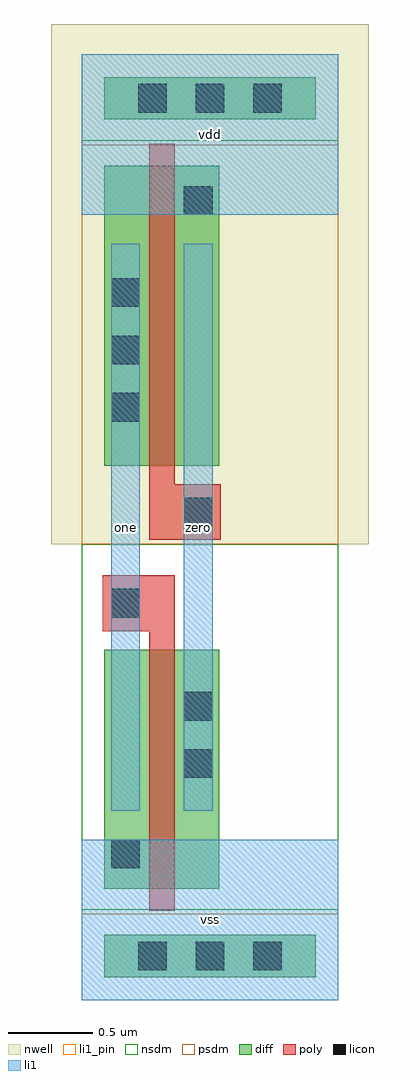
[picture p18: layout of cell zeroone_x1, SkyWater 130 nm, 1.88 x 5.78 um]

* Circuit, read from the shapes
.subckt zeroone_x1 one vdd vss zero
XM1 zero one vss VSUBS sky130_fd_pr__nfet_01v8 w=1.415 l=0.15
XM2 vdd zero one n1 sky130_fd_pr__pfet_01v8 w=1.775 l=0.15
.ends

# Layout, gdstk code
import gdstk
lib = gdstk.Library(unit=1e-6, precision=1e-09)
def R(c, l, rs):  # rectangles x0, y0, x1, y1
    for r in rs: c.add(gdstk.rectangle(r[:2], r[2:], *l))
def A(c, l, x, y, w, h, nx, ny, dx, dy):  # array of equal rectangles
    R(c, l, [(x+i*dx, y+j*dy, x+i*dx+w, y+j*dy+h) for i in range(nx) for j in range(ny)])
def P(c, l, *ps):  # polygons
    for p in ps: c.add(gdstk.Polygon(p, *l))
nwell = (64, 20)
diff = (65, 20)
poly = (66, 20)
licon = (66, 44)
li1_pin = (67, 16)
li1 = (67, 20)
nsdm = (93, 44)
psdm = (94, 20)

zeroone_x1 = lib.new_cell('zeroone_x1')
R(zeroone_x1, nwell, [(-0.18,2.7,1.7,5.78)])
R(zeroone_x1, diff, [(0.135,0.135,1.385,0.385), (0.135,0.66,0.815,2.075), (0.135,3.165,0.815,4.94), (0.135,5.215,1.385,5.465)])
P(zeroone_x1, poly, [(0.4,0.53),(0.4,2.185),(0.125,2.185),(0.125,2.515),(0.55,2.515),(0.55,0.53)],
  [(0.4,2.725),(0.4,5.07),(0.55,5.07),(0.55,3.055),(0.825,3.055),(0.825,2.725)])
A(zeroone_x1, licon, 0.335, 0.175, 0.17, 0.17, 3, 2, 0.34, 5.08)
A(zeroone_x1, licon, 0.175, 3.425, 0.17, 0.17, 1, 3, 0, 0.34)
R(zeroone_x1, licon, [(0.175,0.78,0.345,0.95), (0.605,1.315,0.775,1.485), (0.605,1.655,0.775,1.825), (0.175,2.265,0.345,2.435), (0.605,2.805,0.775,2.975), (0.605,4.65,0.775,4.82)])
R(zeroone_x1, li1_pin, [(0,0,1.52,0.95), (0.175,1.12,0.345,4.48), (0.605,1.12,0.775,4.48), (0,4.65,1.52,5.6)])
R(zeroone_x1, li1, [(0,0,1.52,0.95), (0.175,1.12,0.345,4.48), (0.605,1.12,0.775,4.48), (0,4.65,1.52,5.6)])
R(zeroone_x1, nsdm, [(0,0.535,1.52,2.7), (0,5.09,1.52,5.6)])
R(zeroone_x1, psdm, [(0,0,1.52,0.51), (0,2.7,1.52,5.065)])
zeroone_x1.add(gdstk.Label('vss', (0.76,0.475), layer=67, texttype=16))
zeroone_x1.add(gdstk.Label('one', (0.26,2.8), layer=67, texttype=16))
zeroone_x1.add(gdstk.Label('vdd', (0.76,5.125), layer=67, texttype=16))
zeroone_x1.add(gdstk.Label('zero', (0.69,2.8), layer=67, texttype=16))

lib.write_gds('zeroone_x1.gds')
